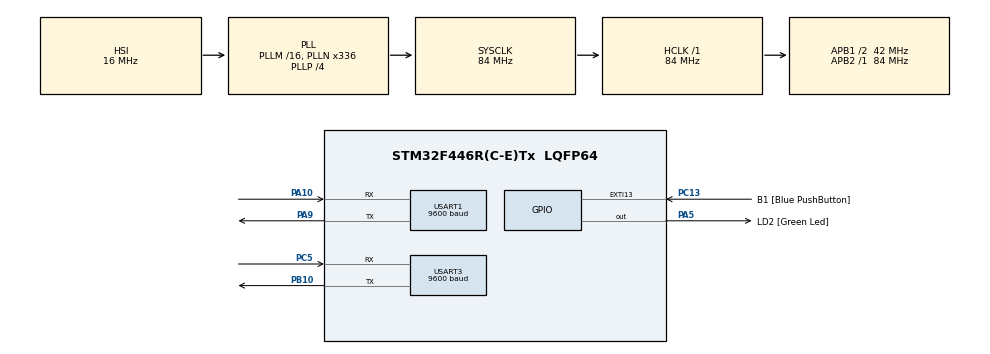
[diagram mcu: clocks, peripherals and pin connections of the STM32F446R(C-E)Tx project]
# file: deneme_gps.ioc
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Mcu.Family=STM32F4
Mcu.Name=STM32F446R(C-E)Tx
Mcu.Package=LQFP64
NVIC.PriorityGroup=NVIC_PRIORITYGROUP_0
NVIC.USART1_IRQn=true\:0\:0\:false\:false\:true\:true\:true\:true
NVIC.USART3_IRQn=true\:0\:0\:false\:false\:true\:true\:true\:true
PA10.Mode=Asynchronous
PA10.Signal=USART1_RX
PA13.GPIO_Label=TMS
PA13.Mode=Serial_Wire
PA13.Signal=SYS_JTMS-SWDIO
PA14.Mode=Serial_Wire
PA14.Signal=SYS_JTCK-SWCLK
PA2.GPIO_Label=USART_TX
PA2.Signal=USART2_TX
PA3.GPIO_Label=USART_RX
PA3.Signal=USART2_RX
PA5.GPIO_Label=LD2 [Green Led]
PA5.Signal=GPIO_Output
PA9.Mode=Asynchronous
PA9.Signal=USART1_TX
PB10.Mode=Asynchronous
PB10.Signal=USART3_TX
PC13.GPIO_Label=B1 [Blue PushButton]
PC13.GPIO_ModeDefaultEXTI=GPIO_MODE_IT_FALLING
PC13.Signal=GPXTI13
PC14-OSC32_IN.Mode=LSE-External-Oscillator
PC14-OSC32_IN.Signal=RCC_OSC32_IN
PC15-OSC32_OUT.Mode=LSE-External-Oscillator
PC15-OSC32_OUT.Signal=RCC_OSC32_OUT
PC5.Mode=Asynchronous
PC5.Signal=USART3_RX
PH0-OSC_IN.Mode=HSE-External-Oscillator
PH0-OSC_IN.Signal=RCC_OSC_IN
PH1-OSC_OUT.Mode=HSE-External-Oscillator
PH1-OSC_OUT.Signal=RCC_OSC_OUT
ProjectManager.HeapSize=0x200
ProjectManager.StackSize=0x400
ProjectManager.TargetToolchain=STM32CubeIDE
RCC.48MHZClocksFreq_Value=84000000
RCC.AHBFreq_Value=84000000
RCC.APB1CLKDivider=RCC_HCLK_DIV2
RCC.APB1Freq_Value=42000000
RCC.APB1TimFreq_Value=84000000
RCC.APB2Freq_Value=84000000
RCC.APB2TimFreq_Value=84000000
RCC.CortexFreq_Value=84000000
RCC.FLatency-AdvancedSettings=FLASH_LATENCY_2
RCC.HCLKFreq_Value=84000000
RCC.HSE_VALUE=8000000
RCC.HSI_VALUE=16000000
RCC.PLLN=336
RCC.PLLP=RCC_PLLP_DIV4
RCC.SYSCLKFreq_VALUE=84000000
RCC.SYSCLKSource=RCC_SYSCLKSOURCE_PLLCLK
RCC.USBFreq_Value=168000000
RCC.VCOOutputFreq_Value=336000000
USART1.BaudRate=9600
USART1.VirtualMode=VM_ASYNC
USART3.BaudRate=9600
USART3.VirtualMode=VM_ASYNC
board=NUCLEO-F446RE

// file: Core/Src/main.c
/* USER CODE BEGIN Header */
/**
 ******************************************************************************
 * @file           : main.c
 * @brief          : Main program body
 ******************************************************************************
 * @attention
 *
 * Copyright (c) 2023 STMicroelectronics.
 * All rights reserved.
 *
 * This software is licensed under terms that can be found in the LICENSE file
 * in the root directory of this software component.
 * If no LICENSE file comes with this software, it is provided AS-IS.
 *
 ******************************************************************************
 */
/* USER CODE END Header */
#include "main.h"

/* USER CODE BEGIN Includes */
#include"lwgps/lwgps.h"
#include "string.h"
/* USER CODE END Includes */

UART_HandleTypeDef huart1;
UART_HandleTypeDef huart3;

/* USER CODE BEGIN PV */

////////////değişken tanımlama
/* USER CODE END PV */

void SystemClock_Config(void);
static void MX_GPIO_Init(void);
static void MX_USART3_UART_Init(void);
static void MX_USART1_UART_Init(void);

/* USER CODE BEGIN 0 */
lwgps_t gps;
uint8_t rx_buffer[128];  // sabit boyutta  nmea ya bak
uint8_t rx_index = 0;
uint8_t rx_data = 0;
uint8_t sayac = 0;
char giden_data[22] = "";
uint8_t gelendata = 0;

void HAL_UART_RxCpltCallback(UART_HandleTypeDef *huart) {
	if (huart == &huart1) {
		if (rx_data != '\n' && rx_index < sizeof(rx_buffer)) //son satırda mı kontrolü sağlanır.
				{
			rx_buffer[rx_index++] = rx_data;

		} else {
			lwgps_process(&gps, rx_buffer, rx_index + 1);

			rx_index = 0;
			rx_data = 0;
		}

		HAL_UART_Receive_IT(&huart1, &rx_data, 1);
	}
}

/* USER CODE END 0 */

int main(void)
{

  /* MCU Configuration--------------------------------------------------------*/

  /* Reset of all peripherals, Initializes the Flash interface and the Systick. */
  HAL_Init();

  /* Configure the system clock */
  SystemClock_Config();

  /* Initialize all configured peripherals */
  MX_GPIO_Init();
  MX_USART3_UART_Init();
  MX_USART1_UART_Init();
  /* USER CODE BEGIN 2 */
	lwgps_init(&gps);
	HAL_UART_Receive_IT(&huart1, &rx_data, 1);

  /* USER CODE END 2 */

  /* Infinite loop */
	while (1) {

    /* USER CODE BEGIN 3 */
		sayac = sayac+1;
				if(sayac==10){
					sayac = 0 ;
				}
				sprintf(giden_data ,"Data : %d /n",gps.latitude
						);
				HAL_UART_Transmit(&huart3,(uint8_t*)giden_data,strlen(giden_data),100);
				HAL_UART_Receive(&huart3, &gelendata, 8,100);
				HAL_Delay(1000);

	}
  /* USER CODE END 3 */
}

void SystemClock_Config(void)
{
  RCC_OscInitTypeDef RCC_OscInitStruct = {0};
  RCC_ClkInitTypeDef RCC_ClkInitStruct = {0};

  /** Configure the main internal regulator output voltage
  */
  __HAL_RCC_PWR_CLK_ENABLE();
  __HAL_PWR_VOLTAGESCALING_CONFIG(PWR_REGULATOR_VOLTAGE_SCALE3);

  /** Initializes the RCC Oscillators according to the specified parameters
  * in the RCC_OscInitTypeDef structure.
  */
  RCC_OscInitStruct.OscillatorType = RCC_OSCILLATORTYPE_HSI;
  RCC_OscInitStruct.HSIState = RCC_HSI_ON;
  RCC_OscInitStruct.HSICalibrationValue = RCC_HSICALIBRATION_DEFAULT;
  RCC_OscInitStruct.PLL.PLLState = RCC_PLL_ON;
  RCC_OscInitStruct.PLL.PLLSource = RCC_PLLSOURCE_HSI;
  RCC_OscInitStruct.PLL.PLLM = 16;
  RCC_OscInitStruct.PLL.PLLN = 336;
  RCC_OscInitStruct.PLL.PLLP = RCC_PLLP_DIV4;
  RCC_OscInitStruct.PLL.PLLQ = 2;
  RCC_OscInitStruct.PLL.PLLR = 2;
  if (HAL_RCC_OscConfig(&RCC_OscInitStruct) != HAL_OK)
  {
    Error_Handler();
  }

  /** Initializes the CPU, AHB and APB buses clocks
  */
  RCC_ClkInitStruct.ClockType = RCC_CLOCKTYPE_HCLK|RCC_CLOCKTYPE_SYSCLK
                              |RCC_CLOCKTYPE_PCLK1|RCC_CLOCKTYPE_PCLK2;
  RCC_ClkInitStruct.SYSCLKSource = RCC_SYSCLKSOURCE_PLLCLK;
  RCC_ClkInitStruct.AHBCLKDivider = RCC_SYSCLK_DIV1;
  RCC_ClkInitStruct.APB1CLKDivider = RCC_HCLK_DIV2;
  RCC_ClkInitStruct.APB2CLKDivider = RCC_HCLK_DIV1;

  if (HAL_RCC_ClockConfig(&RCC_ClkInitStruct, FLASH_LATENCY_2) != HAL_OK)
  {
    Error_Handler();
  }
}

static void MX_USART1_UART_Init(void)
{

  huart1.Instance = USART1;
  huart1.Init.BaudRate = 9600;
  huart1.Init.WordLength = UART_WORDLENGTH_8B;
  huart1.Init.StopBits = UART_STOPBITS_1;
  huart1.Init.Parity = UART_PARITY_NONE;
  huart1.Init.Mode = UART_MODE_TX_RX;
  huart1.Init.HwFlowCtl = UART_HWCONTROL_NONE;
  huart1.Init.OverSampling = UART_OVERSAMPLING_16;
  if (HAL_UART_Init(&huart1) != HAL_OK)
  {
    Error_Handler();
  }

}

static void MX_USART3_UART_Init(void)
{

  huart3.Instance = USART3;
  huart3.Init.BaudRate = 9600;
  huart3.Init.WordLength = UART_WORDLENGTH_8B;
  huart3.Init.StopBits = UART_STOPBITS_1;
  huart3.Init.Parity = UART_PARITY_NONE;
  huart3.Init.Mode = UART_MODE_TX_RX;
  huart3.Init.HwFlowCtl = UART_HWCONTROL_NONE;
  huart3.Init.OverSampling = UART_OVERSAMPLING_16;
  if (HAL_UART_Init(&huart3) != HAL_OK)
  {
    Error_Handler();
  }

}

static void MX_GPIO_Init(void)
{
  GPIO_InitTypeDef GPIO_InitStruct = {0};

  /* GPIO Ports Clock Enable */
  __HAL_RCC_GPIOC_CLK_ENABLE();
  __HAL_RCC_GPIOH_CLK_ENABLE();
  __HAL_RCC_GPIOA_CLK_ENABLE();
  __HAL_RCC_GPIOB_CLK_ENABLE();

  /*Configure GPIO pin Output Level */
  HAL_GPIO_WritePin(LD2_GPIO_Port, LD2_Pin, GPIO_PIN_RESET);

  /*Configure GPIO pin : B1_Pin */
  GPIO_InitStruct.Pin = B1_Pin;
  GPIO_InitStruct.Mode = GPIO_MODE_IT_FALLING;
  GPIO_InitStruct.Pull = GPIO_NOPULL;
  HAL_GPIO_Init(B1_GPIO_Port, &GPIO_InitStruct);

  /*Configure GPIO pins : USART_TX_Pin USART_RX_Pin */
  GPIO_InitStruct.Pin = USART_TX_Pin|USART_RX_Pin;
  GPIO_InitStruct.Mode = GPIO_MODE_AF_PP;
  GPIO_InitStruct.Pull = GPIO_NOPULL;
  GPIO_InitStruct.Speed = GPIO_SPEED_FREQ_VERY_HIGH;
  GPIO_InitStruct.Alternate = GPIO_AF7_USART2;
  HAL_GPIO_Init(GPIOA, &GPIO_InitStruct);

  /*Configure GPIO pin : LD2_Pin */
  GPIO_InitStruct.Pin = LD2_Pin;
  GPIO_InitStruct.Mode = GPIO_MODE_OUTPUT_PP;
  GPIO_InitStruct.Pull = GPIO_NOPULL;
  GPIO_InitStruct.Speed = GPIO_SPEED_FREQ_LOW;
  HAL_GPIO_Init(LD2_GPIO_Port, &GPIO_InitStruct);

}

void Error_Handler(void)
{
	__disable_irq();
	while (1) {
	}
}
